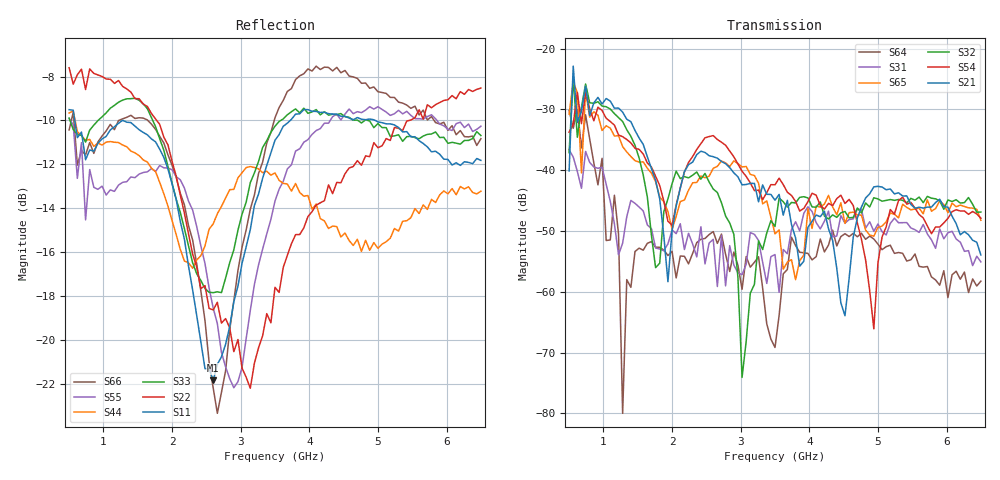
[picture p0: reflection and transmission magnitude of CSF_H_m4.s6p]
!Keysight Technologies,M9804A,MY58100912,A.14.10.03
!Date: Thursday, April 27, 2023 10:28:33
!Correction: S11(C  6-Port  )
!S12(C  6-Port  )
!S13(C  6-Port  )
!S14(C  6-Port  )
!S15(C  6-Port  )
!S16(C  6-Port  )
!S21(C  6-Port  )
!S22(C  6-Port  )
!S23(C  6-Port  )
!S24(C  6-Port  )
!S25(C  6-Port  )
!S26(C  6-Port  )
!S31(C  6-Port  )
!S32(C  6-Port  )
!S33(C  6-Port  )
!S34(C  6-Port  )
!S35(C  6-Port  )
!S36(C  6-Port  )
!S41(C  6-Port  )
!S42(C  6-Port  )
!S43(C  6-Port  )
!S44(C  6-Port  )
!S45(C  6-Port  )
!S46(C  6-Port  )
!S51(C  6-Port  )
!S52(C  6-Port  )
!S53(C  6-Port  )
!S54(C  6-Port  )
!S55(C  6-Port  )
!S56(C  6-Port  )
!S61(C  6-Port  )
!S62(C  6-Port  )
!S63(C  6-Port  )
!S64(C  6-Port  )
!S65(C  6-Port  )
!S66(C  6-Port  )
!S6P File: Measurement: :
# Hz S  RI  R 50
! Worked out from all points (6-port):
!   101 points, 500 MHz to 6.5 GHz, reference 50 ohm
!   strongest paths, dB at 500 MHz, 2 GHz, 3.5 GHz, 5 GHz, 6.5 GHz:
!     S21: -40.1, -50.0, -44.9, -42.7, -54.0
!     S54: -33.7, -49.0, -42.4, -55.3, -47.9
!     S32: -37.1, -42.2, -49.3, -44.7, -46.9
!     S65: -30.8, -49.7, -50.5, -49.4, -48.2
!     S31: -36.6, -49.8, -53.9, -48.9, -55.1
!     S64: -30.2, -53.4, -69.2, -52.2, -58.2
!   lowest |S11| = -21.8 dB at 2.6 GHz (marker M1), VSWR 1.18, Z = 42.7 + j1.92 ohm
!   |S11| at or under -10 dB: 582.5 MHz to 1.276 GHz (693.2 MHz wide, 74.6 % of centre); 1.287 GHz to 3.721 GHz (2.434 GHz wide, 97.2 % of centre); 4.961 GHz to end of sweep
